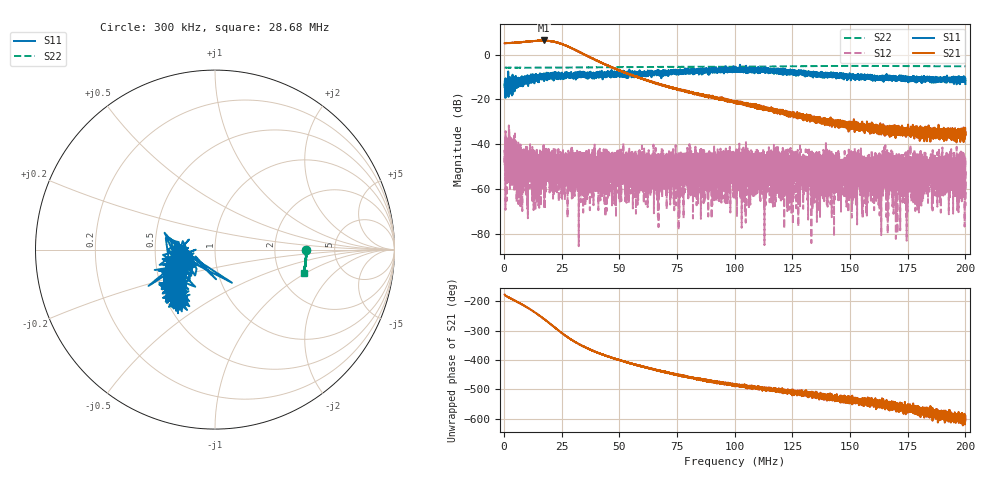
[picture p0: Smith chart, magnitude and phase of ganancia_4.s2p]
# Hz S DB R 50
! CMT, M5065, 19127446, 24.2.4/2
! Date: 11/8/2024 4:50:26 PM
! Data: Format (Calibration Info)
! Freq	S11:dB/Ang(F2)	S21:dB/Ang(F2)	S12:dB/Ang(F2)	S22:dB/Ang(F2)
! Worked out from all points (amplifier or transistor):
!   9000 points, 300 kHz to 200 MHz, reference 50 ohm
!   highest |S21| = 6.3 dB at 17.37 MHz (marker M1)
!   |S21| within 3 dB of that: start of sweep to 28.37 MHz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
!   unconditionally stable (mu >= 1): start of sweep to end of sweep
!   at 33.59 MHz: K = 365.22, MAG = 2.6 dB, |S12| = -61.7 dB
!   at 100.2 MHz: K = 703.90, MAG = -18.7 dB, |S12| = -46.5 dB
!   at 200 MHz: K = 8231.40, MAG = -34.2 dB, |S12| = -51.9 dB
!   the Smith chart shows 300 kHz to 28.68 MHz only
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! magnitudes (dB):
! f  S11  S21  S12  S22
! 300 kHz  -13.2  5.0  -48.3  -5.9
! 1.454 MHz  -13.8  5.1  -49.1  -5.9
! 9.909 MHz  -11.9  5.8  -47.7  -5.9
! 11.71 MHz  -11.8  5.9  -53.9  -5.9
! 14.35 MHz  -11.3  6.1  -47.4  -5.9
! 17.37 MHz  -8.9  6.3  -47.2  -5.8
! 33.59 MHz  -9.5  0.7  -61.7  -5.8
! 35.36 MHz  -10.3  -0.3  -43.9  -5.7
! 66.87 MHz  -8.9  -13.1  -45.9  -5.5
! 100.2 MHz  -7.8  -20.9  -46.5  -5.4
! 121.9 MHz  -8.0  -25.8  -54.2  -5.3
! 131.8 MHz  -8.9  -28.6  -47.2  -5.2
! 133.4 MHz  -9.2  -28.9  -51.0  -5.2
! 138.6 MHz  -8.7  -28.5  -51.0  -5.1
! 147 MHz  -9.6  -31.0  -53.2  -5.1
! 154.2 MHz  -11.1  -31.5  -46.1  -5.1
! 157.5 MHz  -10.0  -32.4  -47.1  -5.1
! 161.7 MHz  -9.9  -31.9  -53.8  -5.1
! 162.9 MHz  -9.7  -32.7  -57.0  -5.1
! 164.7 MHz  -11.4  -33.3  -45.8  -5.1
! 166.7 MHz  -10.4  -35.8  -51.9  -5.1
! 200 MHz  -13.2  -36.0  -51.9  -5.3
